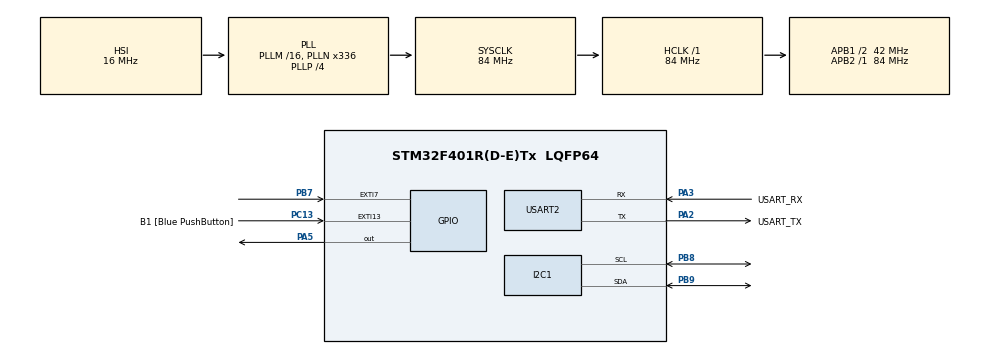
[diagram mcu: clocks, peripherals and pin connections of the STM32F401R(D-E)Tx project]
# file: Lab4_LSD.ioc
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Mcu.Family=STM32F4
Mcu.Name=STM32F401R(D-E)Tx
Mcu.Package=LQFP64
NVIC.EXTI15_10_IRQn=true\:0\:0\:false\:false\:true\:true\:true\:true
NVIC.PriorityGroup=NVIC_PRIORITYGROUP_0
NVIC.TIM1_UP_TIM10_IRQn=true\:0\:0\:false\:false\:true\:true\:true\:true
PA13.GPIO_Label=TMS
PA13.Mode=Serial_Wire
PA13.Signal=SYS_JTMS-SWDIO
PA14.GPIO_Label=TCK
PA14.Mode=Serial_Wire
PA14.Signal=SYS_JTCK-SWCLK
PA2.GPIO_Label=USART_TX
PA2.GPIO_Mode=GPIO_MODE_AF_PP
PA2.GPIO_PuPd=GPIO_NOPULL
PA2.GPIO_Speed=GPIO_SPEED_FREQ_LOW
PA2.Mode=Asynchronous
PA2.Signal=USART2_TX
PA3.GPIO_Label=USART_RX
PA3.GPIO_Mode=GPIO_MODE_AF_PP
PA3.GPIO_PuPd=GPIO_NOPULL
PA3.GPIO_Speed=GPIO_SPEED_FREQ_LOW
PA3.Mode=Asynchronous
PA3.Signal=USART2_RX
PA5.GPIO_Mode=GPIO_MODE_OUTPUT_PP
PA5.GPIO_PuPd=GPIO_NOPULL
PA5.GPIO_Speed=GPIO_SPEED_FREQ_LOW
PA5.Signal=GPIO_Output
PB3.GPIO_Label=SWO
PB3.Signal=SYS_JTDO-SWO
PB7.Signal=GPXTI7
PB8.Mode=I2C
PB8.Signal=I2C1_SCL
PB9.Mode=I2C
PB9.Signal=I2C1_SDA
PC13-ANTI_TAMP.GPIO_Label=B1 [Blue PushButton]
PC13-ANTI_TAMP.GPIO_ModeDefaultEXTI=GPIO_MODE_IT_FALLING
PC13-ANTI_TAMP.GPIO_PuPd=GPIO_NOPULL
PC13-ANTI_TAMP.Signal=GPXTI13
PC14-OSC32_IN.Mode=LSE-External-Oscillator
PC14-OSC32_IN.Signal=RCC_OSC32_IN
PC15-OSC32_OUT.Mode=LSE-External-Oscillator
PC15-OSC32_OUT.Signal=RCC_OSC32_OUT
PH0\ -\ OSC_IN.Mode=HSE-External-Clock-Source
PH0\ -\ OSC_IN.Signal=RCC_OSC_IN
PH1\ -\ OSC_OUT.Mode=HSE-External-Clock-Source
PH1\ -\ OSC_OUT.Signal=RCC_OSC_OUT
ProjectManager.HeapSize=0x200
ProjectManager.StackSize=0x400
ProjectManager.TargetToolchain=STM32CubeIDE
RCC.48MHZClocksFreq_Value=48000000
RCC.AHBFreq_Value=84000000
RCC.APB1CLKDivider=RCC_HCLK_DIV2
RCC.APB1Freq_Value=42000000
RCC.APB1TimFreq_Value=84000000
RCC.APB2Freq_Value=84000000
RCC.APB2TimFreq_Value=84000000
RCC.CortexFreq_Value=84000000
RCC.HCLKFreq_Value=84000000
RCC.HSE_VALUE=8000000
RCC.HSI_VALUE=16000000
RCC.PLLN=336
RCC.PLLP=RCC_PLLP_DIV4
RCC.PLLQ=7
RCC.SYSCLKFreq_VALUE=84000000
RCC.SYSCLKSource=RCC_SYSCLKSOURCE_PLLCLK
RCC.VCOOutputFreq_Value=336000000
TIM1.Period=2000-1
TIM1.Prescaler=42000-1
TIM2.Prescaler=84-1
USART2.VirtualMode=VM_ASYNC
VP_TIM1_VS_ClockSourceINT.Mode=Internal
VP_TIM2_VS_ClockSourceINT.Mode=Internal
board=NUCLEO-F401RE

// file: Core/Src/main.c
/* USER CODE BEGIN Header */
/**
  ******************************************************************************
  * @file           : main.c
  * @brief          : Main program body
  ******************************************************************************
  * @attention
  *
  * Copyright (c) 2024 STMicroelectronics.
  * All rights reserved.
  *
  * This software is licensed under terms that can be found in the LICENSE file
  * in the root directory of this software component.
  * If no LICENSE file comes with this software, it is provided AS-IS.
  *
  ******************************************************************************
  */
/* USER CODE END Header */
#include "main.h"

/* USER CODE BEGIN Includes */
#include <stdio.h>
#include <string.h>
#include <lcd.h>
/* USER CODE END Includes */

/* USER CODE BEGIN PTD */
  struct clock_data
  {
	  uint8_t hrs;
	  uint8_t min;
	  uint8_t sec;
  };
/* USER CODE END PTD */

/* USER CODE BEGIN PD */
void cd_set(struct clock_data * pcd,
					uint8_t 	hrs,
					uint8_t		min,
					uint8_t		sec);

void cd_tick(struct clock_data * pcd);

void uart_print_cd(UART_HandleTypeDef * huart,
					struct clock_data * pcd);
void wait_for_button_press();
/* USER CODE END PD */

I2C_HandleTypeDef hi2c1;

TIM_HandleTypeDef htim1;
TIM_HandleTypeDef htim2;

UART_HandleTypeDef huart2;

/* USER CODE BEGIN PV */
int exti_tim1;
uint8_t half_second_flag = 0;
uint8_t half_second_flag_n = 0;
int button_pressed;
TextLCDType lcd;
/* USER CODE END PV */

void SystemClock_Config(void);
static void MX_GPIO_Init(void);
static void MX_USART2_UART_Init(void);
static void MX_TIM1_Init(void);
static void MX_I2C1_Init(void);
static void MX_TIM2_Init(void);

/* USER CODE BEGIN 0 */
void cd_set(struct clock_data * pcd,
					uint8_t 	hrs,
					uint8_t		min,
					uint8_t		sec)
{
	pcd->hrs = hrs;
	pcd->min = min;
	pcd->sec = sec;
}

void cd_tick(struct clock_data * pcd)
{
	pcd->sec++;
	if (pcd->sec >= 60)
	{
		pcd->sec=0;
		pcd->min++;
		if (pcd->min >= 60)
		{
			pcd->min = 0;
			pcd->hrs++;
			if(pcd->hrs >= 24)
			{
				pcd->hrs = 0;
			}
		}
	}
}

void uart_print_cd(UART_HandleTypeDef * huart,
					struct clock_data * pcd)
{
	char str[100];

	sprintf(str, "%02d %02d %02d\r", pcd->hrs, pcd->min, pcd->sec);

	HAL_UART_Transmit(huart, (uint8_t*) str, strlen(str), HAL_MAX_DELAY);
}

void HAL_TIM_PeriodElapsedCallback( TIM_HandleTypeDef *htim)
{

    if (htim->Instance == TIM1)
    {
        half_second_flag = !half_second_flag;

    }
}

void HAL_GPIO_EXTI_Callback(uint16_t GPIO_Pin)
{
	while(HAL_GPIO_ReadPin(B1_GPIO_Port, B1_Pin) == 0)
	{

	}

	button_pressed = 1;
}

void wait_for_button_press(struct clock_data * pcd)
{
	char str[60];
	while(!button_pressed)
	{
		  if (half_second_flag != half_second_flag_n)
		  {
			   cd_tick(pcd);
			   TextLCD_Position(&lcd, 8, 1);
			   half_second_flag_n = half_second_flag;
			   sprintf(str, "%02d:%02d:%02d", pcd->hrs, pcd->min, pcd->sec);
			   TextLCD_PutStr(&lcd, str);
		  }
	}
	button_pressed = 0;
}

/* USER CODE END 0 */

int main(void)
{

  /* MCU Configuration--------------------------------------------------------*/

  /* Reset of all peripherals, Initializes the Flash interface and the Systick. */
  HAL_Init();

  /* Configure the system clock */
  SystemClock_Config();

  /* Initialize all configured peripherals */
  MX_GPIO_Init();
  MX_USART2_UART_Init();
  MX_TIM1_Init();
  MX_I2C1_Init();
  MX_TIM2_Init();
  /* USER CODE BEGIN 2 */
  TextLCD_Init(&lcd, &hi2c1, 0x4E);
  struct clock_data my_clock;
  cd_set(&my_clock, 23 , 59, 45);
  HAL_TIM_Base_Start_IT(&htim1);

  /*for (int i=0; i<5; i++)
  {
	  wait_for_button_press();
	  HAL_GPIO_TogglePin(LD2_GPIO_Port, LD2_Pin);
  }*/

  char c = 0;
  const char ASCII_CAPITAL_OFFSET = 'A';
  const char LETTERS_TOTAL = 'Z' - 'A';

  /* USER CODE END 2 */

  /* Infinite loop */
  /* USER CODE BEGIN WHILE */
  while (1)
  {
	  for (int i=0; i<5; i++)
	  {
		  wait_for_button_press(&my_clock);
		  TextLCD_PutChar(&lcd, c + ASCII_CAPITAL_OFFSET);
		  c = (c+1) % LETTERS_TOTAL;
	  }

	  TextLCD_Clear(&lcd);
	  TextLCD_Home(&lcd);

	  TextLCD_PutStr(&lcd, "Hello world:)");

	  //TextLCD_Position(&lcd, 3, 1);
	  TextLCD_SetDDRAMAdr(&lcd, 0x43);
	  TextLCD_PutChar(&lcd, 'Hi!');

	  //Code for the timer, disabled for now
	  /*if (half_second_flag != half_second_flag_n)
	  {
		   cd_tick(&my_clock);
	  }

	  half_second_flag_n = half_second_flag;

	  uart_print_cd(&huart2, &my_clock);*/

    /* USER CODE END WHILE */

  }
}

void SystemClock_Config(void)
{
  RCC_OscInitTypeDef RCC_OscInitStruct = {0};
  RCC_ClkInitTypeDef RCC_ClkInitStruct = {0};

  /** Configure the main internal regulator output voltage
  */
  __HAL_RCC_PWR_CLK_ENABLE();
  __HAL_PWR_VOLTAGESCALING_CONFIG(PWR_REGULATOR_VOLTAGE_SCALE2);

  /** Initializes the RCC Oscillators according to the specified parameters
  * in the RCC_OscInitTypeDef structure.
  */
  RCC_OscInitStruct.OscillatorType = RCC_OSCILLATORTYPE_HSI;
  RCC_OscInitStruct.HSIState = RCC_HSI_ON;
  RCC_OscInitStruct.HSICalibrationValue = RCC_HSICALIBRATION_DEFAULT;
  RCC_OscInitStruct.PLL.PLLState = RCC_PLL_ON;
  RCC_OscInitStruct.PLL.PLLSource = RCC_PLLSOURCE_HSI;
  RCC_OscInitStruct.PLL.PLLM = 16;
  RCC_OscInitStruct.PLL.PLLN = 336;
  RCC_OscInitStruct.PLL.PLLP = RCC_PLLP_DIV4;
  RCC_OscInitStruct.PLL.PLLQ = 7;
  if (HAL_RCC_OscConfig(&RCC_OscInitStruct) != HAL_OK)
  {
    Error_Handler();
  }

  /** Initializes the CPU, AHB and APB buses clocks
  */
  RCC_ClkInitStruct.ClockType = RCC_CLOCKTYPE_HCLK|RCC_CLOCKTYPE_SYSCLK
                              |RCC_CLOCKTYPE_PCLK1|RCC_CLOCKTYPE_PCLK2;
  RCC_ClkInitStruct.SYSCLKSource = RCC_SYSCLKSOURCE_PLLCLK;
  RCC_ClkInitStruct.AHBCLKDivider = RCC_SYSCLK_DIV1;
  RCC_ClkInitStruct.APB1CLKDivider = RCC_HCLK_DIV2;
  RCC_ClkInitStruct.APB2CLKDivider = RCC_HCLK_DIV1;

  if (HAL_RCC_ClockConfig(&RCC_ClkInitStruct, FLASH_LATENCY_2) != HAL_OK)
  {
    Error_Handler();
  }
}

static void MX_I2C1_Init(void)
{

  hi2c1.Instance = I2C1;
  hi2c1.Init.ClockSpeed = 100000;
  hi2c1.Init.DutyCycle = I2C_DUTYCYCLE_2;
  hi2c1.Init.OwnAddress1 = 0;
  hi2c1.Init.AddressingMode = I2C_ADDRESSINGMODE_7BIT;
  hi2c1.Init.DualAddressMode = I2C_DUALADDRESS_DISABLE;
  hi2c1.Init.OwnAddress2 = 0;
  hi2c1.Init.GeneralCallMode = I2C_GENERALCALL_DISABLE;
  hi2c1.Init.NoStretchMode = I2C_NOSTRETCH_DISABLE;
  if (HAL_I2C_Init(&hi2c1) != HAL_OK)
  {
    Error_Handler();
  }

}

static void MX_TIM1_Init(void)
{

  TIM_ClockConfigTypeDef sClockSourceConfig = {0};
  TIM_MasterConfigTypeDef sMasterConfig = {0};

  htim1.Instance = TIM1;
  htim1.Init.Prescaler = 42000-1;
  htim1.Init.CounterMode = TIM_COUNTERMODE_UP;
  htim1.Init.Period = 2000-1;
  htim1.Init.ClockDivision = TIM_CLOCKDIVISION_DIV1;
  htim1.Init.RepetitionCounter = 0;
  htim1.Init.AutoReloadPreload = TIM_AUTORELOAD_PRELOAD_DISABLE;
  if (HAL_TIM_Base_Init(&htim1) != HAL_OK)
  {
    Error_Handler();
  }
  sClockSourceConfig.ClockSource = TIM_CLOCKSOURCE_INTERNAL;
  if (HAL_TIM_ConfigClockSource(&htim1, &sClockSourceConfig) != HAL_OK)
  {
    Error_Handler();
  }
  sMasterConfig.MasterOutputTrigger = TIM_TRGO_RESET;
  sMasterConfig.MasterSlaveMode = TIM_MASTERSLAVEMODE_DISABLE;
  if (HAL_TIMEx_MasterConfigSynchronization(&htim1, &sMasterConfig) != HAL_OK)
  {
    Error_Handler();
  }

}

static void MX_TIM2_Init(void)
{

  TIM_ClockConfigTypeDef sClockSourceConfig = {0};
  TIM_MasterConfigTypeDef sMasterConfig = {0};

  htim2.Instance = TIM2;
  htim2.Init.Prescaler = 84-1;
  htim2.Init.CounterMode = TIM_COUNTERMODE_UP;
  htim2.Init.Period = 4294967295;
  htim2.Init.ClockDivision = TIM_CLOCKDIVISION_DIV1;
  htim2.Init.AutoReloadPreload = TIM_AUTORELOAD_PRELOAD_DISABLE;
  if (HAL_TIM_Base_Init(&htim2) != HAL_OK)
  {
    Error_Handler();
  }
  sClockSourceConfig.ClockSource = TIM_CLOCKSOURCE_INTERNAL;
  if (HAL_TIM_ConfigClockSource(&htim2, &sClockSourceConfig) != HAL_OK)
  {
    Error_Handler();
  }
  sMasterConfig.MasterOutputTrigger = TIM_TRGO_RESET;
  sMasterConfig.MasterSlaveMode = TIM_MASTERSLAVEMODE_DISABLE;
  if (HAL_TIMEx_MasterConfigSynchronization(&htim2, &sMasterConfig) != HAL_OK)
  {
    Error_Handler();
  }

}

static void MX_USART2_UART_Init(void)
{

  huart2.Instance = USART2;
  huart2.Init.BaudRate = 115200;
  huart2.Init.WordLength = UART_WORDLENGTH_8B;
  huart2.Init.StopBits = UART_STOPBITS_1;
  huart2.Init.Parity = UART_PARITY_NONE;
  huart2.Init.Mode = UART_MODE_TX_RX;
  huart2.Init.HwFlowCtl = UART_HWCONTROL_NONE;
  huart2.Init.OverSampling = UART_OVERSAMPLING_16;
  if (HAL_UART_Init(&huart2) != HAL_OK)
  {
    Error_Handler();
  }

}

static void MX_GPIO_Init(void)
{
  GPIO_InitTypeDef GPIO_InitStruct = {0};

  /* GPIO Ports Clock Enable */
  __HAL_RCC_GPIOC_CLK_ENABLE();
  __HAL_RCC_GPIOH_CLK_ENABLE();
  __HAL_RCC_GPIOA_CLK_ENABLE();
  __HAL_RCC_GPIOB_CLK_ENABLE();

  /*Configure GPIO pin Output Level */
  HAL_GPIO_WritePin(GPIOA, GPIO_PIN_5, GPIO_PIN_RESET);

  /*Configure GPIO pin : B1_Pin */
  GPIO_InitStruct.Pin = B1_Pin;
  GPIO_InitStruct.Mode = GPIO_MODE_IT_FALLING;
  GPIO_InitStruct.Pull = GPIO_NOPULL;
  HAL_GPIO_Init(B1_GPIO_Port, &GPIO_InitStruct);

  /*Configure GPIO pin : PA5 */
  GPIO_InitStruct.Pin = GPIO_PIN_5;
  GPIO_InitStruct.Mode = GPIO_MODE_OUTPUT_PP;
  GPIO_InitStruct.Pull = GPIO_NOPULL;
  GPIO_InitStruct.Speed = GPIO_SPEED_FREQ_LOW;
  HAL_GPIO_Init(GPIOA, &GPIO_InitStruct);

  /*Configure GPIO pin : PB7 */
  GPIO_InitStruct.Pin = GPIO_PIN_7;
  GPIO_InitStruct.Mode = GPIO_MODE_IT_RISING;
  GPIO_InitStruct.Pull = GPIO_NOPULL;
  HAL_GPIO_Init(GPIOB, &GPIO_InitStruct);

  /* EXTI interrupt init*/
  HAL_NVIC_SetPriority(EXTI15_10_IRQn, 0, 0);
  HAL_NVIC_EnableIRQ(EXTI15_10_IRQn);

}

void Error_Handler(void)
{
  __disable_irq();
  while (1)
  {
  }
}
